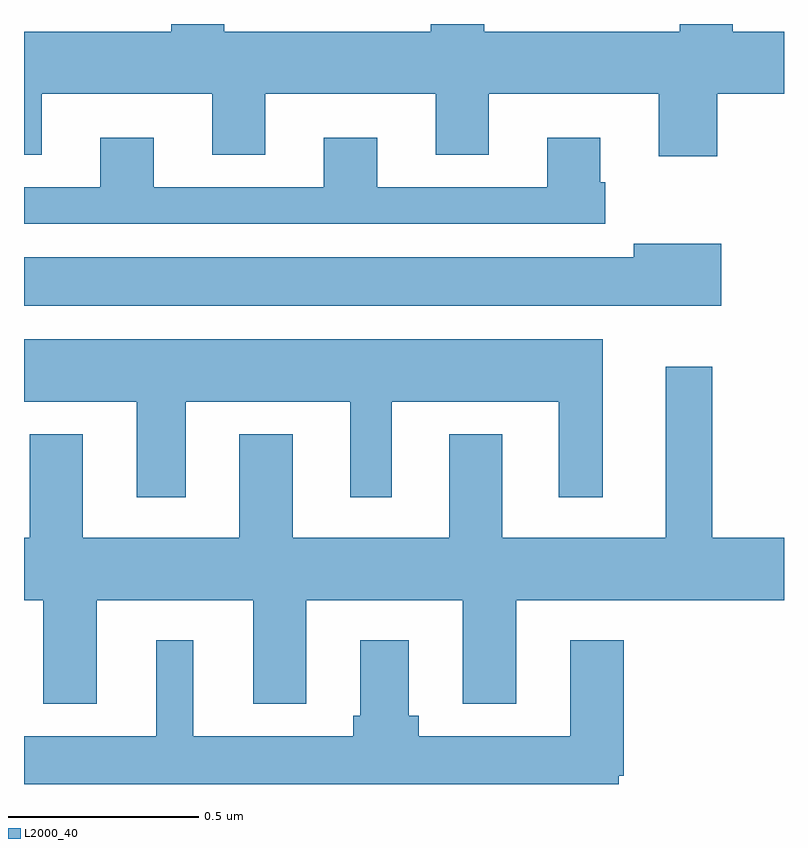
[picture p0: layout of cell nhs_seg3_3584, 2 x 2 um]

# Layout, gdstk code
import gdstk
lib = gdstk.Library(unit=1e-6, precision=1e-09)
def P(c, l, *ps):  # polygons
    for p in ps: c.add(gdstk.Polygon(p, *l))
L2000_40 = (2000, 40)

nhs_seg3_3584 = lib.new_cell('nhs_seg3_3584')
P(nhs_seg3_3584, L2000_40, [(156.824,734.216),(157,734.216),(157,734.38),(156.865,734.38),(156.865,734.4),(156.725,734.4),(156.725,734.38),(156.211,734.38),(156.211,734.4),(156.071,734.4),(156.071,734.38),(155.527,734.38),(155.527,734.4),(155.387,734.4),(155.387,734.38),(155,734.38),(155,734.056),(155.047,734.056),(155.047,734.216),(155.495,734.216),(155.495,734.056),(155.635,734.056),(155.635,734.216),(156.083,734.216),(156.083,734.056),(156.223,734.056),(156.223,734.216),(156.671,734.216),(156.671,734.052),(156.824,734.052)],
  [(156.53,733.983),(156.517,733.983),(156.517,734.101),(156.377,734.101),(156.377,733.971),(155.929,733.971),(155.929,734.101),(155.789,734.101),(155.789,733.971),(155.341,733.971),(155.341,734.101),(155.201,734.101),(155.201,733.971),(155,733.971),(155,733.875),(156.53,733.875)],
  [(156.835,733.822),(156.605,733.822),(156.605,733.786),(155,733.786),(155,733.658),(156.835,733.658)],
  [(155.425,733.406),(155.858,733.406),(155.858,733.155),(155.968,733.155),(155.968,733.406),(156.407,733.406),(156.407,733.155),(156.523,733.155),(156.523,733.57),(155,733.57),(155,733.406),(155.297,733.406),(155.297,733.155),(155.425,733.155)],
  [(155.191,732.884),(155.603,732.884),(155.603,732.611),(155.743,732.611),(155.743,732.884),(156.155,732.884),(156.155,732.611),(156.295,732.611),(156.295,732.884),(157,732.884),(157,733.048),(156.811,733.048),(156.811,733.498),(156.689,733.498),(156.689,733.048),(156.259,733.048),(156.259,733.321),(156.119,733.321),(156.119,733.048),(155.707,733.048),(155.707,733.321),(155.567,733.321),(155.567,733.048),(155.155,733.048),(155.155,733.321),(155.015,733.321),(155.015,733.048),(155,733.048),(155,732.884),(155.051,732.884),(155.051,732.611),(155.191,732.611)],
  [(156.565,732.422),(156.578,732.422),(156.578,732.778),(156.437,732.778),(156.437,732.526),(156.039,732.526),(156.039,732.579),(156.013,732.579),(156.013,732.778),(155.885,732.778),(155.885,732.579),(155.866,732.579),(155.866,732.526),(155.446,732.526),(155.446,732.778),(155.348,732.778),(155.348,732.526),(155,732.526),(155,732.4),(156.565,732.4)])

lib.write_gds('nhs_seg3_3584.gds')
